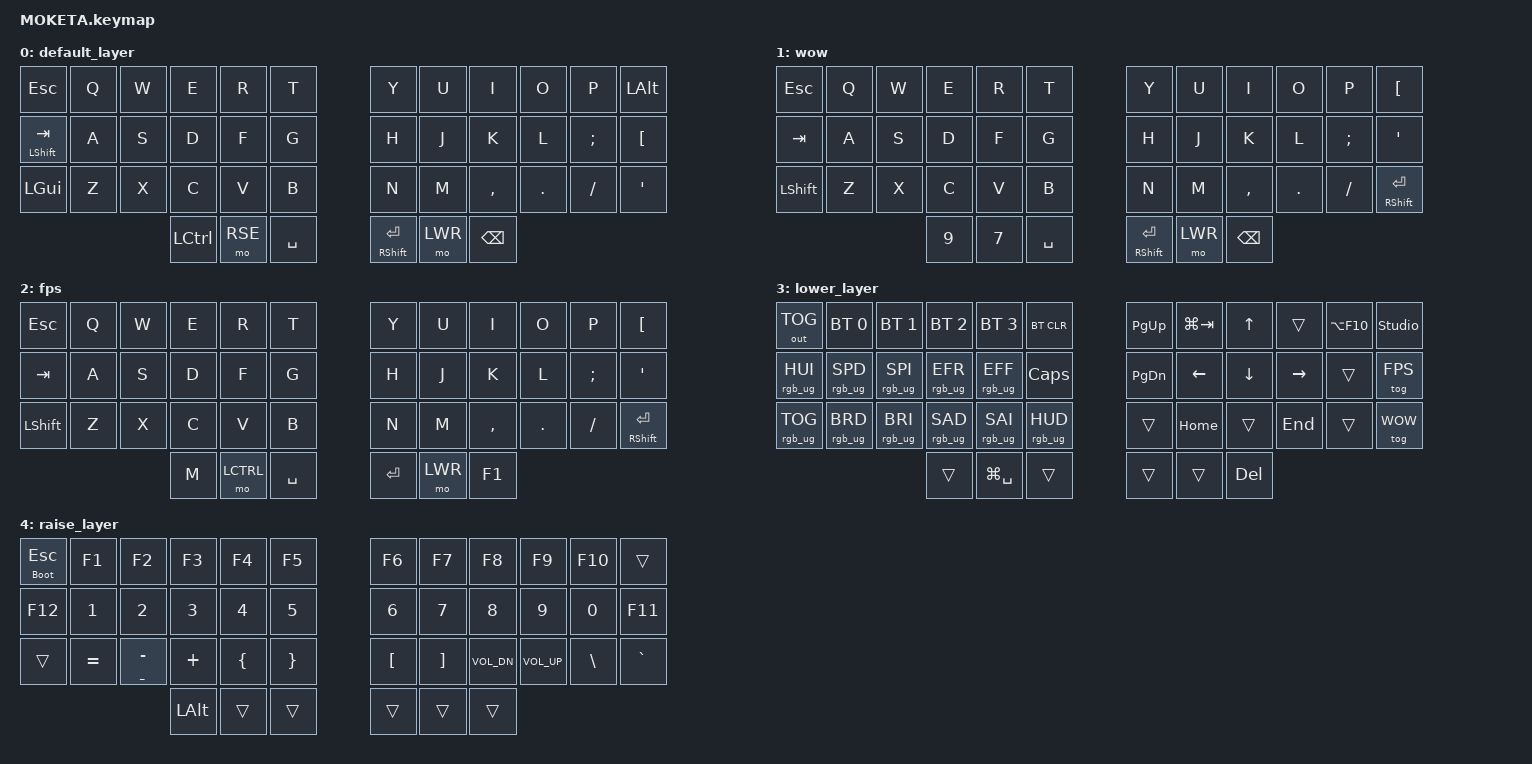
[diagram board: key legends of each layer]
#include <behaviors.dtsi>
#include <dt-bindings/zmk/bt.h>
#include <dt-bindings/zmk/ext_power.h>
#include <dt-bindings/zmk/keys.h>
#include <dt-bindings/zmk/outputs.h>
#include <dt-bindings/zmk/rgb.h>

#define DEF 0
#define WOW 1
#define FPS 2
#define LWR 3
#define RSE 4


&mt {
    flavor = "tap-preferred";
    tapping-term-ms = <140>;
};

/ {
};

/ {
    behaviors {
        hrm: hr {
            compatible = "zmk,behavior-hold-tap";
            label = "hrm";
            bindings = <&kp>, <&kp>;

            #binding-cells = <2>;
            tapping-term-ms = <200>;
            flavor = "balanced";
            quick-tap-ms = <150>;
        };

        boot_esc: boot_esc {
            compatible = "zmk,behavior-hold-tap";
            label = "boot_esc";
            /* hold: bootloader, tap: key */
            bindings = <&bootloader>, <&kp>;

            #binding-cells = <2>;
            tapping-term-ms = <3000>;
            flavor = "tap-preferred";
            quick-tap-ms = <150>;
        };
    };

    keymap {
        compatible = "zmk,keymap";
            // -----------------------------------------------------------------------------------------------------------------
            // |  ESC  |  Q   |  W   |  E   |  R   |  T   |-----------|-----------|   Y   |  U   |  I   |  O   |   P   |  LALT |
            // |  TAB  |  A   |  S   |  D   |  F   |  G   |-----------|-----------|   H   |  J   |  K   |  L   |   ;   |  LBKT |
            // | LGUI  |  Z   |  X   |  C   |  V   |  B   |-----------|-----------|   N   |  M   |  ,   |  .   |   /   |  SQT  |
            // -----------------------------|LCTRL | RSE  |  SPACE    | ENT/SHIFT | LWR   | BACKSPACE |-------------------------
        default_layer {
            bindings = <
            &kp ESC         &kp Q  &kp W    &kp E    &kp R      &kp T                               &kp Y      &kp U         &kp I     &kp O     &kp P     &kp LALT
            &mt LSHIFT TAB  &kp A  &kp S    &kp D    &kp F      &kp G                               &kp H      &kp J         &kp K     &kp L     &kp SEMI  &kp LBKT
            &kp LGUI        &kp Z  &kp X    &kp C    &kp V      &kp B                               &kp N      &kp M         &kp COMMA &kp DOT   &kp FSLH  &kp SQT
                                              &kp LCTRL  &mo RSE   &kp SPACE &mt RSHFT ENTER &mo LWR    &kp BACKSPACE
            >;
        };
        wow {
            // ---------------------------------------------------------------------------------------------------------------
            // |  ESC  |  Q   |  W   |  E   |  R   |  T     |-------|-------|   Y   |  U    |  I   |  O   |   P   |  LBKT    |
            // | TAB   |  A   |  S   |  D   |  F   |  G     |-------|-------|   H   |  J    |  K   |  L   |   ;   |  SQT     |
            // | LSHFT |  Z   |  X   |  C   |  V   |  B     |-------|-------|   N   |  M    |  ,   |  .   |   /   | ENT/SHIFT|
            // -----------------------------|  N9  |  N7    | SPACE | ENTER | LOWER | BACKSPACE|-----------------------------
            bindings = <
                &kp ESC    &kp Q  &kp W    &kp E    &kp R      &kp T                               &kp Y      &kp U          &kp I     &kp O     &kp P     &kp LBKT
                &kp TAB    &kp A  &kp S    &kp D    &kp F      &kp G                               &kp H      &kp J          &kp K     &kp L     &kp SEMI  &kp SQT
                &kp LSHFT  &kp Z  &kp X    &kp C    &kp V      &kp B                               &kp N      &kp M          &kp COMMA &kp DOT   &kp FSLH  &mt RSHFT ENTER
                                                    &kp N9     &kp N7 &kp SPACE    &mt RSHFT ENTER &mo LWR    &kp BACKSPACE
            >;
        };        
        
        fps {
            // ---------------------------------------------------------------------------------------------------------------
            // |  ESC  |  Q   |  W   |  E   |  R   |  T     |-------|-------|   Y   |  U    |  I   |  O   |   P   |  LBKT    |
            // | TAB   |  A   |  S   |  D   |  F   |  G     |-------|-------|   H   |  J    |  K   |  L   |   ;   |  SQT     |
            // | LSHFT |  Z   |  X   |  C   |  V   |  B     |-------|-------|   N   |  M    |  ,   |  .   |   /   | ENT/SHIFT|
            // -----------------------------|  M   |  LCTRL | SPACE | ENTER | LOWER |  F1   |---------------------------------
            bindings = <
                &kp ESC   &kp Q  &kp W    &kp E    &kp R      &kp T                           &kp Y      &kp U          &kp I     &kp O     &kp P     &kp LBKT
                &kp TAB   &kp A  &kp S    &kp D    &kp F      &kp G                           &kp H      &kp J          &kp K     &kp L     &kp SEMI  &kp SQT
                &kp LSHFT &kp Z  &kp X    &kp C    &kp V      &kp B                           &kp N      &kp M          &kp COMMA &kp DOT   &kp FSLH  &mt RSHFT ENTER
                                                   &kp M      &mo LCTRL &kp SPACE &kp ENTER   &mo LWR    &kp F1
            >;
        }; 

        // ---------------------------------------------------------------------------------------------------------------------------------------
        // | OUT_TG  |   BT0   |   BT1   |   BT2   |  BT3    | BT_CLR    |-----------|-----------| PG_UP |LGUI(TAB)|  UP  |       |      |      |
        // | RGB HUI | RGB SPD | RGB SPI | RGB EFR | RGB EFF | CAPSLOCK  |-----------|-----------| PG_DN |  LEFT   | DOWN | RIGHT |      |      |
        // | RGB TG  | RGB BRD | RGB BRI | RGB SAD | RGB SAI | RGB HUD   |-----------|-----------|       |  HOME   |      |  END  |      |      |
        // ----------------------------------------|         |LGUI(SPACE)|           |           |       | DELETE  |-----------------------------
        lower_layer {
            bindings = <
            &out OUT_TOG     &bt BT_SEL 0     &bt BT_SEL 1     &bt BT_SEL 2     &bt BT_SEL 3     &bt BT_CLR                      &kp PAGE_UP     &kp LG(TAB) &kp UP    &trans     &kp LA(F10) &studio_unlock     
            &rgb_ug RGB_HUI  &rgb_ug RGB_SPD  &rgb_ug RGB_SPI  &rgb_ug RGB_EFR  &rgb_ug RGB_EFF  &kp CAPSLOCK                    &kp PAGE_DOWN   &kp LEFT    &kp DOWN  &kp RIGHT  &trans      &tog FPS
            &rgb_ug RGB_TOG  &rgb_ug RGB_BRD  &rgb_ug RGB_BRI  &rgb_ug RGB_SAD  &rgb_ug RGB_SAI  &rgb_ug RGB_HUD                 &trans          &kp HOME    &trans    &kp END    &trans      &tog WOW
                                                                                &trans           &kp LG(SPACE)   &trans  &trans  &trans          &kp DELETE  
            >;
        };

        // --------------------------------------------------------------------------------------------------------------------------
        // |ESC/BT|  F1    |  F2    |  F3    |  F4    |  F5    |-------|-------|  F6    |  F7    |  F8    |  F9    |  F10   |       |
        // |  F12 |   N1   |   N2   |   N3   |   N4   |   N5   |-------|-------|   N6   |   N7   |   N8   |   N9   |   N0   |  F11  |
        // |      |   =    |  -/_   |   +    | LBRC   | RBRC   |-------|-------| LBKT   | RBKT   | VOL-   | VOL+   |   \    |  `    |
        // ----------------------------------|  LALT  |        |       |       |        |        |-----------------------------------
        raise_layer {
            bindings = <
            &boot_esc 0 ESC   &kp F1    &kp F2           &kp F3   &kp F4     &kp F5                  &kp F6     &kp F7    &kp F8       &kp F9         &kp F10       &trans
            &kp F12           &kp N1    &kp N2           &kp N3   &kp N4     &kp N5                  &kp N6     &kp N7    &kp N8       &kp N9         &kp N0        &kp F11
            &trans            &kp EQUAL &mt UNDER MINUS  &kp PLUS &kp LBRC   &kp RBRC                &kp LBKT   &kp RBKT  &kp C_VOL_DN &kp C_VOL_UP   &kp BACKSLASH &kp GRAVE 
                                                           &kp LALT   &trans  &trans   &trans &trans     &trans    
            >;
        };

        // -------------------------------------------------------------------------------------------------------------------------------------------
        // | STUDIO | RESET  | BOOT   | OUT_TOG | PWR_TOG | SOFTOFF |-----------|-----------| SOFTOFF | PWR_TOG | OUT_TOG | BOOT   | RESET  | STUDIO  |
        // |BT_CLR_A| BT_CLR | BT1    |  BT2    |         |         |-----------|-----------|         |         | BT2     | BT1    | BT0    | BT_CLR  |
        // | RGB TG | RGB BRD| RGB BRI| RGB SAD | RGB SAI | RGB HUD |-----------|-----------| RGB HUI | RGB SPD | RGB SPI | RGB EFR| RGB EFF| RGB TG  |
        // |        |        |        |         |         |         |           |           |         |         |         |        |        |         |
        // adjust_layer {
        //     bindings = <
        //     &studio_unlock   &sys_reset       &bootloader      &out OUT_TOG     &ext_power EP_TOG  &soft_off                        &soft_off        &ext_power EP_TOG  &out OUT_TOG     &bootloader      &sys_reset       &studio_unlock
        //     &bt BT_CLR_ALL   &bt BT_CLR       &bt BT_SEL 1     &bt BT_SEL 2     &none              &none                            &none            &none              &bt BT_SEL 2     &bt BT_SEL 1     &bt BT_SEL 0     &bt BT_CLR
        //     &rgb_ug RGB_TOG  &rgb_ug RGB_BRD  &rgb_ug RGB_BRI  &rgb_ug RGB_SAD  &rgb_ug RGB_SAI    &rgb_ug RGB_HUD                  &rgb_ug RGB_HUI  &rgb_ug RGB_SPD    &rgb_ug RGB_SPI  &rgb_ug RGB_EFR  &rgb_ug RGB_EFF  &rgb_ug RGB_TOG
        //                                                                         &trans             &none            &trans  &trans  &none            &trans
        //     >;
        // };
    };
};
